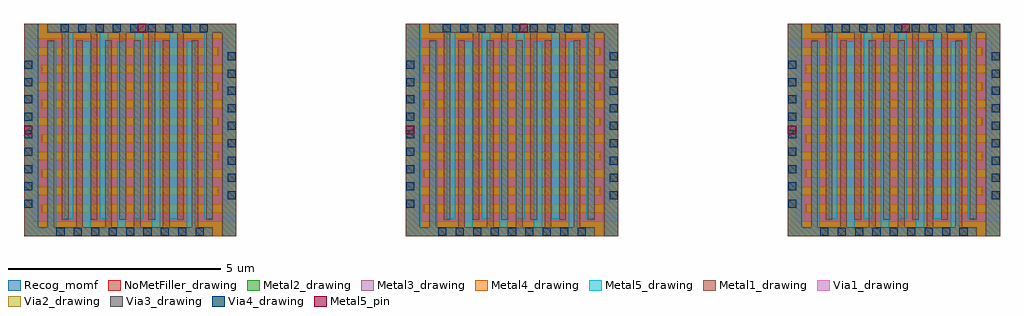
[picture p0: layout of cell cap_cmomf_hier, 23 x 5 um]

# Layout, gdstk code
import gdstk
lib = gdstk.Library(unit=1e-6, precision=1e-09)
def R(c, l, rs):  # rectangles x0, y0, x1, y1
    for r in rs: c.add(gdstk.rectangle(r[:2], r[2:], *l))
def A(c, l, x, y, w, h, nx, ny, dx, dy):  # array of equal rectangles
    R(c, l, [(x+i*dx, y+j*dy, x+i*dx+w, y+j*dy+h) for i in range(nx) for j in range(ny)])
Metal1_drawing = (8, 0)
Metal2_drawing = (10, 0)
Via1_drawing = (19, 0)
Via2_drawing = (29, 0)
Metal3_drawing = (30, 0)
Via3_drawing = (49, 0)
Metal4_drawing = (50, 0)
Via4_drawing = (66, 0)
Metal5_drawing = (67, 0)
Metal5_pin = (67, 2)
Recog_momf = (99, 40)
NoMetFiller_drawing = (160, 0)

cmomf = lib.new_cell('cmomf')
A(cmomf, Metal1_drawing, 0.55, 0, 0.16, 4.61, 6, 1, 0.68, 0)
A(cmomf, Metal1_drawing, 0.89, 0.39, 0.16, 4.61, 6, 1, 0.68, 0)
R(cmomf, Metal1_drawing, [(0,0,0.33,5), (0,0,4.45,0.21), (4.67,0,5,5), (0.55,4.79,5,5)])
A(cmomf, Metal2_drawing, 0.42, 0.555, 4.58, 0.2, 1, 5, 0, 0.82)
A(cmomf, Metal2_drawing, 0, 0.965, 4.58, 0.2, 1, 5, 0, 0.82)
R(cmomf, Metal2_drawing, [(0,0,5,0.345), (0,0,0.205,4.445), (4.795,0.555,5,5), (0,4.655,5,5)])
A(cmomf, Via1_drawing, 0.765, 0.01, 0.19, 0.19, 9, 1, 0.41, 0)
A(cmomf, Via1_drawing, 0.01, 0.665, 0.19, 0.19, 1, 9, 0, 0.41)
A(cmomf, Via1_drawing, 4.8, 0.865, 0.19, 0.19, 1, 9, 0, 0.41)
A(cmomf, Via1_drawing, 0.865, 4.8, 0.19, 0.19, 9, 1, 0.41, 0)
A(cmomf, Via2_drawing, 0.765, 0.005, 0.19, 0.19, 9, 1, 0.41, 0)
A(cmomf, Via2_drawing, 0.005, 0.665, 0.19, 0.19, 1, 9, 0, 0.41)
A(cmomf, Via2_drawing, 4.805, 0.865, 0.19, 0.19, 1, 9, 0, 0.41)
A(cmomf, Via2_drawing, 0.865, 4.805, 0.19, 0.19, 9, 1, 0.41, 0)
A(cmomf, Metal3_drawing, 0.555, 0, 0.2, 4.59, 5, 1, 0.82, 0)
A(cmomf, Metal3_drawing, 0.965, 0.41, 0.2, 4.59, 5, 1, 0.82, 0)
R(cmomf, Metal3_drawing, [(0,0,0.345,5), (0,0,4.445,0.2), (4.655,0,5,5), (0.555,4.8,5,5)])
A(cmomf, Via3_drawing, 0.765, 0.005, 0.19, 0.19, 9, 1, 0.41, 0)
A(cmomf, Via3_drawing, 0.005, 0.665, 0.19, 0.19, 1, 9, 0, 0.41)
A(cmomf, Via3_drawing, 4.805, 0.865, 0.19, 0.19, 1, 9, 0, 0.41)
A(cmomf, Via3_drawing, 0.865, 4.805, 0.19, 0.19, 9, 1, 0.41, 0)
A(cmomf, Metal4_drawing, 0.41, 0.555, 4.59, 0.2, 1, 5, 0, 0.82)
A(cmomf, Metal4_drawing, 0, 0.965, 4.59, 0.2, 1, 5, 0, 0.82)
R(cmomf, Metal4_drawing, [(0,0,5,0.345), (0,0,0.2,4.445), (4.8,0.555,5,5), (0,4.655,5,5)])
A(cmomf, Via4_drawing, 0.765, 0.005, 0.19, 0.19, 9, 1, 0.41, 0)
A(cmomf, Via4_drawing, 0.005, 0.665, 0.19, 0.19, 1, 9, 0, 0.41)
A(cmomf, Via4_drawing, 4.805, 0.865, 0.19, 0.19, 1, 9, 0, 0.41)
A(cmomf, Via4_drawing, 0.865, 4.805, 0.19, 0.19, 9, 1, 0.41, 0)
A(cmomf, Metal5_drawing, 0.555, 0, 0.2, 4.59, 5, 1, 0.82, 0)
A(cmomf, Metal5_drawing, 0.965, 0.41, 0.2, 4.59, 5, 1, 0.82, 0)
R(cmomf, Metal5_drawing, [(0,0,0.345,5), (0,0,4.445,0.2), (4.655,0,5,5), (0.555,4.8,5,5)])
R(cmomf, Metal5_pin, [(0,2.4,0.2,2.6), (2.675,4.8,2.875,5)])
R(cmomf, Recog_momf, [(0,0,5,5)])
R(cmomf, NoMetFiller_drawing, [(0,0,5,5)])
cmomf.add(gdstk.Label('cap_cmomf C=39.800fF', (0,-0.5), layer=63, texttype=0))

cmomf_unit = lib.new_cell('cmomf_unit')
cmomf_unit.add(gdstk.Reference(cmomf, (0,0)))

cap_cmomf_hier = lib.new_cell('cap_cmomf_hier')
cap_cmomf_hier.add(gdstk.Reference(cmomf_unit, (0,0)))
cap_cmomf_hier.add(gdstk.Reference(cmomf_unit, (9,0)))
cap_cmomf_hier.add(gdstk.Reference(cmomf, (18,0)))

lib.write_gds('cap_cmomf_hier.gds')
